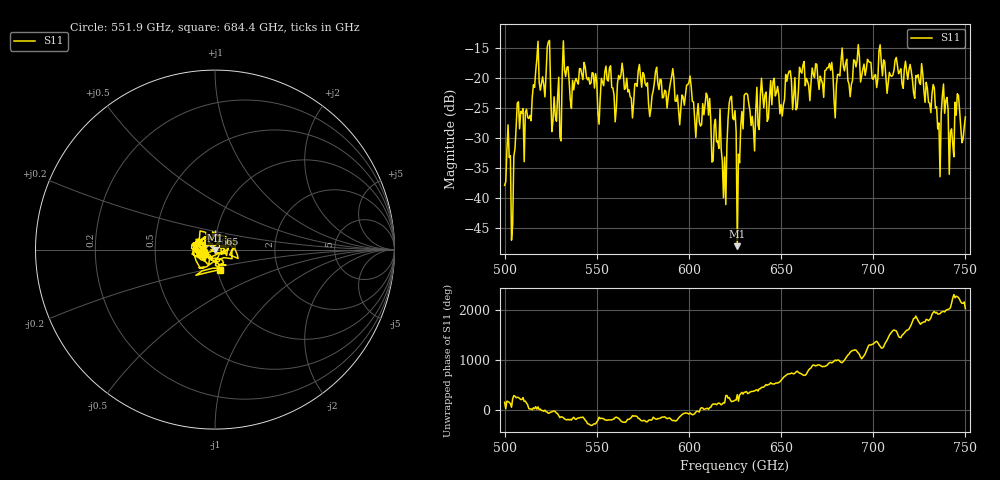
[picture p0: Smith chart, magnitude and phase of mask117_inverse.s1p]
!Created with skrf (http://scikit-rf.org).
# GHz S MA R 50.0
!freq magS11 angS11
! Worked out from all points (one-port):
!   401 points, 500 GHz to 750 GHz, reference 50 ohm
!   lowest |S11| = -48.0 dB at 626.2 GHz (marker M1), VSWR 1.01, Z = 50.3 - j0.294 ohm
!   |S11| at or under -10 dB: start of sweep to end of sweep
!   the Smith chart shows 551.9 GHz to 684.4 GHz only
!   S11 on the Smith chart (normalised r, x): 551.9 GHz: 0.87, -0.03; 665 GHz: 0.99, +0.17; 684.4 GHz: 1.03, -0.23
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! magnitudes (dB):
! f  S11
! 500 GHz  -37.8
! 504.4 GHz  -44.3
! 507.5 GHz  -23.9
! 511.9 GHz  -25.2
! 516.9 GHz  -18.8
! 523.8 GHz  -13.9
! 526.9 GHz  -23.1
! 531.2 GHz  -19.2
! 551.9 GHz  -23.3
! 562.5 GHz  -20.1
! 593.8 GHz  -22.8
! 610 GHz  -23.0
! 618.8 GHz  -39.9
! 622.5 GHz  -23.2
! 625 GHz  -25.4
! 626.2 GHz  -48.0
! 631.2 GHz  -22.5
! 635 GHz  -28.3
! 656.2 GHz  -25.2
! 665 GHz  -21.2
! 684.4 GHz  -18.8
! 687.5 GHz  -23.1
! 718.8 GHz  -20.2
! 735.6 GHz  -27.5
! 738.8 GHz  -25.8
! 742.5 GHz  -28.4
! 745.6 GHz  -22.6
! 750 GHz  -26.5
